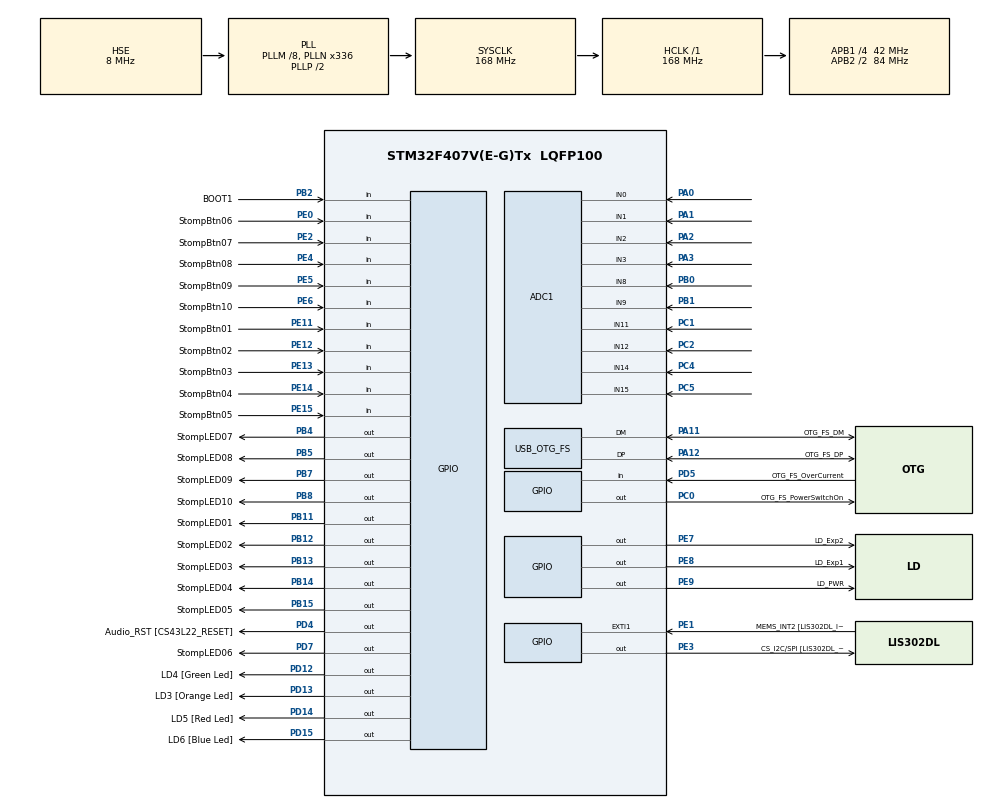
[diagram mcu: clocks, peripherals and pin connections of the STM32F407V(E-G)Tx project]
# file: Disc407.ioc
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PA11.GPIO_Speed=GPIO_SPEED_FREQ_LOW
PE15.GPIO_Mode=GPIO_MODE_INPUT
PD12.GPIO_Label=LD4 [Green Led]
PH0-OSC_IN.Signal=RCC_OSC_IN
PC10.GPIO_PuPd=GPIO_NOPULL
PB10.GPIO_PuPd=GPIO_NOPULL
PA10.GPIO_PuPd=GPIO_NOPULL
ADC1.SamplingTime-6\#ChannelRegularConversion=ADC_SAMPLETIME_28CYCLES
PC12.Signal=I2S3_SD
PB14.GPIO_Label=StompLED04
PA14.GPIO_Label=SWCLK
PA6.GPIO_Label=SPI1_MISO [LIS302DL_SDO]
PB6.GPIO_Label=Audio_SCL [CS43L22_SCL]
PB13.Signal=GPIO_Output
PC15-OSC32_OUT.GPIO_Label=PC15-OSC32_OUT
PE6.GPIO_Label=StompBtn10
ADC1.Channel-8\#ChannelRegularConversion=ADC_CHANNEL_14
PC3.GPIO_Speed=GPIO_SPEED_FREQ_LOW
RCC.SYSCLKSource=RCC_SYSCLKSOURCE_PLLCLK
PA6.GPIO_Mode=GPIO_MODE_AF_PP
PD14.GPIO_Speed=GPIO_SPEED_FREQ_LOW
PE13.GPIO_Mode=GPIO_MODE_INPUT
ADC1.Channel-5\#ChannelRegularConversion=ADC_CHANNEL_3
PD4.Signal=GPIO_Output
RCC.APB2TimFreq_Value=168000000
PB6.Signal=I2C1_SCL
Dma.ADC1.0.Direction=DMA_PERIPH_TO_MEMORY
ADC1.Channel-2\#ChannelRegularConversion=ADC_CHANNEL_0
PC7.Signal=I2S3_MCK
PC3.Signal=I2S2_SD
PE5.Signal=GPIO_Input
PE1.Signal=GPXTI1
Dma.ADC1.0.MemDataAlignment=DMA_MDATAALIGN_HALFWORD
PB2.Signal=GPIO_Input
ADC1.ScanConvMode=ENABLE
SH.ADCx_IN15.0=ADC1_IN15,IN15
PB12.GPIO_Label=StompLED02
PE9.Signal=GPIO_Output
PA5.GPIO_PuPd=GPIO_NOPULL
Dma.ADC1.0.PeriphInc=DMA_PINC_DISABLE
PE4.GPIO_Label=StompBtn08
SH.ADCx_IN8.0=ADC1_IN8,IN8
PD5.GPIO_Mode=GPIO_MODE_INPUT
PE2.Signal=GPIO_Input
PD14.GPIO_PuPd=GPIO_NOPULL
PB2.GPIO_PuPd=GPIO_NOPULL
ADC1.SamplingTime-0\#ChannelRegularConversion=ADC_SAMPLETIME_28CYCLES
Mcu.Package=LQFP100
PB9.Signal=I2C1_SDA
PB1.Signal=ADCx_IN9
SH.ADCx_IN14.0=ADC1_IN14,IN14
PD12.Signal=GPIO_Output
PA10.Signal=USB_OTG_FS_ID
PB9.GPIO_PuPd=GPIO_NOPULL
PE12.GPIO_Label=StompBtn02
SH.ADCx_IN9.0=ADC1_IN9,IN9
RCC.APB2CLKDivider=RCC_HCLK_DIV2
RCC.APB1TimFreq_Value=84000000
Dma.ADC1.0.FIFOMode=DMA_FIFOMODE_DISABLE
PC12.GPIO_PuPd=GPIO_NOPULL
PA6.GPIO_Speed=GPIO_SPEED_FREQ_LOW
PA12.GPIO_PuPd=GPIO_NOPULL
PE6.GPIO_PuPd=GPIO_PULLUP
PA4.GPIO_Label=I2S3_WS [CS43L22_LRCK]
ADC1.EOCSelection=ADC_EOC_SEQ_CONV
PD15.Signal=GPIO_Output
ADC1.Rank-4\#ChannelRegularConversion=5
PE12.GPIO_PuPd=GPIO_PULLUP
Dma.ADC1.0.Instance=DMA2_Stream0
ADC1.Rank-0\#ChannelRegularConversion=1
PA9.GPIO_Label=VBUS_FS
PB6.GPIO_PuPd=GPIO_NOPULL
PC2.Signal=ADCx_IN12
PB11.GPIO_Label=StompLED01
PD7.Signal=GPIO_Output
PA11.GPIO_Label=OTG_FS_DM
PE1.GPIO_PuPd=GPIO_NOPULL
PC0.Signal=GPIO_Output
RCC.APB1CLKDivider=RCC_HCLK_DIV4
PC14-OSC32_IN.Signal=RCC_OSC32_IN
PA0-WKUP.Signal=ADCx_IN0
ADC1.Channel-7\#ChannelRegularConversion=ADC_CHANNEL_12
PC10.GPIO_Mode=GPIO_MODE_AF_PP
PB8.GPIO_Label=StompLED10
PB10.GPIO_Mode=GPIO_MODE_AF_PP
PE8.GPIO_Label=LD_Exp1
Dma.ADC1.0.Priority=DMA_PRIORITY_LOW
PA9.Signal=USB_OTG_FS_VBUS
PC7.GPIO_PuPd=GPIO_NOPULL
PE9.GPIO_Label=LD_PWR
PB10.Signal=I2S2_CK
PB14.Signal=GPIO_Output
PE2.GPIO_PuPd=GPIO_PULLUP
PA5.Signal=SPI1_SCK
PE1.GPIO_Label=MEMS_INT2 [LIS302DL_INT2]
PA7.GPIO_Speed=GPIO_SPEED_FREQ_LOW
PB2.GPIO_Mode=GPIO_MODE_INPUT
PE14.Signal=GPIO_Input
PE15.Signal=GPIO_Input
PB4.GPIO_Label=StompLED07
PB15.GPIO_Label=StompLED05
PE8.Signal=GPIO_Output
PD4.GPIO_Speed=GPIO_SPEED_FREQ_LOW
PE3.GPIO_PuPd=GPIO_NOPULL
PH1-OSC_OUT.GPIO_Label=PH1-OSC_OUT
ADC1.DMAContinuousRequests=ENABLE
ADC1.Rank-9\#ChannelRegularConversion=10
PA13.Mode=Serial_Wire
PE4.GPIO_PuPd=GPIO_PULLUP
PC7.GPIO_Label=I2S3_MCK [CS43L22_MCLK]
PA4.Signal=I2S3_WS
ADC1.SamplingTime-1\#ChannelRegularConversion=ADC_SAMPLETIME_28CYCLES
PC12.GPIO_Mode=GPIO_MODE_AF_PP
PB5.Signal=GPIO_Output
ADC1.master=1
PE13.GPIO_Label=StompBtn03
PA5.GPIO_Label=SPI1_SCK [LIS302DL_SCL/SPC]
PE3.GPIO_Speed=GPIO_SPEED_FREQ_LOW
PE5.GPIO_Label=StompBtn09
PC12.GPIO_Label=I2S3_SD [CS43L22_SDIN]
ADC1.Rank-1\#ChannelRegularConversion=2
PA11.Signal=USB_OTG_FS_DM
ProjectManager.HeapSize=0x200
ADC1.SamplingTime-5\#ChannelRegularConversion=ADC_SAMPLETIME_28CYCLES
NVIC.PriorityGroup=NVIC_PRIORITYGROUP_0
PE3.Signal=GPIO_Output
PC3.GPIO_Label=PDM_OUT [MP45DT02_DOUT]
ADC1.SamplingTime-9\#ChannelRegularConversion=ADC_SAMPLETIME_28CYCLES
PB6.GPIO_Speed=GPIO_SPEED_FREQ_LOW
PB0.Signal=ADCx_IN8
ADC1.Rank-5\#ChannelRegularConversion=6
PC1.Signal=ADCx_IN11
USB_DEVICE.VirtualMode-HID_FS=Hid
Mcu.Family=STM32F4
PC3.GPIO_Mode=GPIO_MODE_AF_PP
USB_DEVICE.CLASS_NAME_FS=HID
RCC.CortexFreq_Value=168000000
PB10.GPIO_Speed=GPIO_SPEED_FREQ_LOW
PB6.GPIO_Mode=GPIO_MODE_AF_OD
ADC1.ContinuousConvMode=ENABLE
PE11.GPIO_Label=StompBtn01
SH.ADCx_IN2.0=ADC1_IN2,IN2
PD15.GPIO_Speed=GPIO_SPEED_FREQ_LOW
PC10.Signal=I2S3_CK
PA7.GPIO_Mode=GPIO_MODE_AF_PP
PC0.GPIO_Label=OTG_FS_PowerSwitchOn
PA11.Mode=Device_Only
PC10.GPIO_Speed=GPIO_SPEED_FREQ_LOW
PA11.GPIO_PuPd=GPIO_NOPULL
PB13.GPIO_Label=StompLED03
PB11.Signal=GPIO_Output
PB15.Signal=GPIO_Output
ProjectManager.StackSize=0x400
VP_TIM7_VS_ClockSourceINT.Mode=Enable_Timer
PD13.Signal=GPIO_Output
PA12.Signal=USB_OTG_FS_DP
PE5.GPIO_PuPd=GPIO_PULLUP
PE11.GPIO_PuPd=GPIO_PULLUP
ADC1.Channel-3\#ChannelRegularConversion=ADC_CHANNEL_1
RCC.HCLKFreq_Value=168000000
SH.ADCx_IN3.0=ADC1_IN3,IN3
TIM7.Period=83
NVIC.DMA2_Stream0_IRQn=true\:0\:0\:false\:false\:true\:false\:true
RCC.AHBFreq_Value=168000000
PH0-OSC_IN.Mode=HSE-External-Oscillator
PH0-OSC_IN.GPIO_Label=PH0-OSC_IN
PA9.GPIO_Mode=GPIO_MODE_INPUT
ADC1.Channel-0\#ChannelRegularConversion=ADC_CHANNEL_8
RCC.HSE_VALUE=8000000
PA4.GPIO_PuPd=GPIO_NOPULL
PE13.GPIO_PuPd=GPIO_PULLUP
PA4.GPIO_Speed=GPIO_SPEED_FREQ_LOW
ADC1.SamplingTime-4\#ChannelRegularConversion=ADC_SAMPLETIME_28CYCLES
ADC1.Channel-6\#ChannelRegularConversion=ADC_CHANNEL_11
PA6.GPIO_PuPd=GPIO_NOPULL
ADC1.Rank-2\#ChannelRegularConversion=3
PE13.Signal=GPIO_Input
PC14-OSC32_IN.Mode=LSE-External-Oscillator
PA14.Mode=Serial_Wire
PA10.GPIO_Label=OTG_FS_ID
PC7.GPIO_Mode=GPIO_MODE_AF_PP
PB7.Signal=GPIO_Output
SH.ADCx_IN0.0=ADC1_IN0,IN0
PE4.Signal=GPIO_Input
PD7.GPIO_Label=StompLED06
PH1-OSC_OUT.Mode=HSE-External-Oscillator
PB7.GPIO_Label=StompLED09
PD13.GPIO_Label=LD3 [Orange Led]
PA6.Signal=SPI1_MISO
PD5.GPIO_Label=OTG_FS_OverCurrent
NVIC.OTG_FS_IRQn=true\:0\:0\:false\:false\:true\:true\:true
PD15.GPIO_PuPd=GPIO_NOPULL
USB_OTG_FS.VirtualMode=Device_Only
PE0.GPIO_Label=StompBtn06
PA10.GPIO_Speed=GPIO_SPEED_FREQ_LOW
SH.ADCx_IN1.0=ADC1_IN1,IN1
PB9.GPIO_Speed=GPIO_SPEED_FREQ_LOW
PB5.GPIO_Label=StompLED08
PC14-OSC32_IN.GPIO_Label=PC14-OSC32_IN
PC5.Signal=ADCx_IN15
PE14.GPIO_Mode=GPIO_MODE_INPUT
PE7.Signal=GPIO_Output
ADC1.Rank-6\#ChannelRegularConversion=7
Dma.Request0=ADC1
ADC1.SamplingTime-8\#ChannelRegularConversion=ADC_SAMPLETIME_28CYCLES
PE2.GPIO_Label=StompBtn07
NVIC.TIM7_IRQn=true\:0\:0\:false\:false\:true\:true\:true
PA12.GPIO_Speed=GPIO_SPEED_FREQ_LOW
PB4.Signal=GPIO_Output
PA3.Signal=ADCx_IN3
PB3.GPIO_Label=SWO
PE0.GPIO_PuPd=GPIO_PULLUP
PC15-OSC32_OUT.Mode=LSE-External-Oscillator
PD12.GPIO_Speed=GPIO_SPEED_FREQ_LOW
PD15.GPIO_Label=LD6 [Blue Led]
PB9.GPIO_Label=Audio_SDA [CS43L22_SDA]
ADC1.Channel-4\#ChannelRegularConversion=ADC_CHANNEL_2
PC10.GPIO_Label=I2S3_SCK [CS43L22_SCLK]
USB_DEVICE.VirtualModeFS=Hid_FS
ADC1.Rank-8\#ChannelRegularConversion=9
PC4.Signal=ADCx_IN14
PE14.GPIO_Label=StompBtn04
PD5.Signal=GPIO_Input
PE1.GPIO_ModeDefaultEXTI=GPIO_MODE_EVT_RISING
PA9.GPIO_PuPd=GPIO_NOPULL
PA12.GPIO_Label=OTG_FS_DP
ADC1.SamplingTime-2\#ChannelRegularConversion=ADC_SAMPLETIME_28CYCLES
PA10.GPIO_Mode=GPIO_MODE_AF_PP
PA13.Signal=SYS_JTMS-SWDIO
PD4.GPIO_PuPd=GPIO_NOPULL
Dma.ADC1.0.PeriphDataAlignment=DMA_PDATAALIGN_HALFWORD
SH.ADCx_IN12.0=ADC1_IN12,IN12
PE15.GPIO_Label=StompBtn05
ProjectManager.TargetToolchain=STM32CubeIDE
PB10.GPIO_Label=CLK_IN [MP45DT02_CLK]
Dma.ADC1.0.Mode=DMA_CIRCULAR
ADC1.Channel-1\#ChannelRegularConversion=ADC_CHANNEL_9
PE11.Signal=GPIO_Input
PC15-OSC32_OUT.Signal=RCC_OSC32_OUT
PA7.GPIO_PuPd=GPIO_NOPULL
PA1.Signal=ADCx_IN1
TIM7.Prescaler=999
board=STM32F407G-DISC1
PD13.GPIO_Speed=GPIO_SPEED_FREQ_LOW
PC7.GPIO_Speed=GPIO_SPEED_FREQ_LOW
RCC.VCOOutputFreq_Value=336000000
PB9.GPIO_Mode=GPIO_MODE_AF_OD
PA12.GPIO_Mode=GPIO_MODE_AF_PP
PA4.GPIO_Mode=GPIO_MODE_AF_PP
VP_USB_DEVICE_VS_USB_DEVICE_HID_FS.Mode=HID_FS
RCC.APB2Freq_Value=84000000
SH.ADCx_IN11.0=ADC1_IN11,IN11
PD4.GPIO_Label=Audio_RST [CS43L22_RESET]
PE11.GPIO_Mode=GPIO_MODE_INPUT
PH1-OSC_OUT.Signal=RCC_OSC_OUT
PD13.GPIO_PuPd=GPIO_NOPULL
PD5.GPIO_PuPd=GPIO_NOPULL
PD14.GPIO_Label=LD5 [Red Led]
PE14.GPIO_PuPd=GPIO_PULLUP
PE6.Signal=GPIO_Input
ADC1.NbrOfConversion=10
Mcu.Name=STM32F407V(E-G)Tx
PE0.Signal=GPIO_Input
PE7.GPIO_Label=LD_Exp2
PE12.Signal=GPIO_Input
PE12.GPIO_Mode=GPIO_MODE_INPUT
PA2.Signal=ADCx_IN2
PA13.GPIO_Label=SWDIO
ADC1.Channel-9\#ChannelRegularConversion=ADC_CHANNEL_15
PD14.Signal=GPIO_Output
RCC.48MHZClocksFreq_Value=48000000
PB3.Signal=SYS_JTDO-SWO
RCC.SYSCLKFreq_VALUE=168000000
PA7.GPIO_Label=SPI1_MOSI [LIS302DL_SDA/SDI/SDO]
PA12.Mode=Device_Only
ADC1.Rank-3\#ChannelRegularConversion=4
ADC1.SamplingTime-3\#ChannelRegularConversion=ADC_SAMPLETIME_28CYCLES
PA14.Signal=SYS_JTCK-SWCLK
Dma.ADC1.0.MemInc=DMA_MINC_ENABLE
PB2.GPIO_Label=BOOT1
PE15.GPIO_PuPd=GPIO_PULLUP
RCC.HSI_VALUE=16000000
ADC1.Rank-7\#ChannelRegularConversion=8
PA5.GPIO_Speed=GPIO_SPEED_FREQ_LOW
RCC.PLLQ=7
ADC1.NbrOfConversionFlag=1
RCC.PLLM=8
RCC.PLLN=336
PB8.Signal=GPIO_Output
PE3.GPIO_Label=CS_I2C/SPI [LIS302DL_CS_I2C/SPI]
ADC1.SamplingTime-7\#ChannelRegularConversion=ADC_SAMPLETIME_28CYCLES
PA11.GPIO_Mode=GPIO_MODE_AF_PP
RCC.APB1Freq_Value=42000000
PA5.GPIO_Mode=GPIO_MODE_AF_PP
PC12.GPIO_Speed=GPIO_SPEED_FREQ_LOW
PB12.Signal=GPIO_Output
PC3.GPIO_PuPd=GPIO_NOPULL
PD12.GPIO_PuPd=GPIO_NOPULL
PA7.Signal=SPI1_MOSI

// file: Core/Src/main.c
/* USER CODE BEGIN Header */
/**
  ******************************************************************************
  * @file           : main.c
  * @brief          : Main program body
  ******************************************************************************
  * @attention
  *
  * <h2><center>&copy; Copyright (c) 2021 STMicroelectronics.
  * All rights reserved.</center></h2>
  *
  * This software component is licensed by ST under Ultimate Liberty license
  * SLA0044, the "License"; You may not use this file except in compliance with
  * the License. You may obtain a copy of the License at:
  *                             www.st.com/SLA0044
  *
  ******************************************************************************
  */
/* USER CODE END Header */
#include "main.h"
#include "usb_device.h"

/* USER CODE BEGIN Includes */
#include "usbd_midi_if.h"
#include "Process.h"
/* USER CODE END Includes */

ADC_HandleTypeDef hadc1;
DMA_HandleTypeDef hdma_adc1;

TIM_HandleTypeDef htim7;

/* USER CODE BEGIN PV */
uint8_t uart_rx_dat[MIDI_IN_JACK_NUM];
uint16_t AD_RES[10];

/* USER CODE END PV */

void SystemClock_Config(void);
static void MX_GPIO_Init(void);
static void MX_DMA_Init(void);
static void MX_TIM7_Init(void);
static void MX_ADC1_Init(void);

/* USER CODE BEGIN 0 */
uint16_t *getADCbuffer(void)
{
  return AD_RES;
}
/* USER CODE END 0 */

int main(void)
{

  /* MCU Configuration--------------------------------------------------------*/

  /* Reset of all peripherals, Initializes the Flash interface and the Systick. */
  HAL_Init();

  /* USER CODE BEGIN Init */
  ProcessInit();

  /* USER CODE END Init */

  /* Configure the system clock */
  SystemClock_Config();

  /* Initialize all configured peripherals */
  MX_GPIO_Init();
  MX_DMA_Init();
  MX_USB_DEVICE_Init();
  MX_TIM7_Init();
  MX_ADC1_Init();
  /* USER CODE BEGIN 2 */

  HAL_TIM_Base_Start_IT(&htim7);

	//USB-MIDI Driver Init
  MX_USB_MIDI_INIT();

  // Calibrate The ADC On Power-Up For Better Accuracy
  //HAL_ADCEx_Calibration_Start(&hadc1);
  // Start ADC Conversion
  HAL_ADC_Start_DMA(&hadc1, (uint32_t*) AD_RES, 10);

  if(FUNC_ERROR == midiInit() ){
	  while(1){
		  HAL_GPIO_WritePin(LD_PWR_GPIO_Port, LD_PWR_Pin, (GPIO_PinState)SET);
		  HAL_Delay(500);
		  HAL_GPIO_WritePin(LD_PWR_GPIO_Port, LD_PWR_Pin, (GPIO_PinState)RESET);
		  HAL_Delay(500);
	  }
  }

  /* USER CODE END 2 */

  /* Infinite loop */
  while (1)
  {

    /* USER CODE BEGIN 3 */
    HAL_Delay(1);
    ProcessExecute();
  }
  /* USER CODE END 3 */
}

void SystemClock_Config(void)
{
  RCC_OscInitTypeDef RCC_OscInitStruct = {0};
  RCC_ClkInitTypeDef RCC_ClkInitStruct = {0};

  /** Configure the main internal regulator output voltage
  */
  __HAL_RCC_PWR_CLK_ENABLE();
  __HAL_PWR_VOLTAGESCALING_CONFIG(PWR_REGULATOR_VOLTAGE_SCALE1);
  /** Initializes the RCC Oscillators according to the specified parameters
  * in the RCC_OscInitTypeDef structure.
  */
  RCC_OscInitStruct.OscillatorType = RCC_OSCILLATORTYPE_HSE;
  RCC_OscInitStruct.HSEState = RCC_HSE_ON;
  RCC_OscInitStruct.PLL.PLLState = RCC_PLL_ON;
  RCC_OscInitStruct.PLL.PLLSource = RCC_PLLSOURCE_HSE;
  RCC_OscInitStruct.PLL.PLLM = 8;
  RCC_OscInitStruct.PLL.PLLN = 336;
  RCC_OscInitStruct.PLL.PLLP = RCC_PLLP_DIV2;
  RCC_OscInitStruct.PLL.PLLQ = 7;
  if (HAL_RCC_OscConfig(&RCC_OscInitStruct) != HAL_OK)
  {
    Error_Handler();
  }
  /** Initializes the CPU, AHB and APB buses clocks
  */
  RCC_ClkInitStruct.ClockType = RCC_CLOCKTYPE_HCLK|RCC_CLOCKTYPE_SYSCLK
                              |RCC_CLOCKTYPE_PCLK1|RCC_CLOCKTYPE_PCLK2;
  RCC_ClkInitStruct.SYSCLKSource = RCC_SYSCLKSOURCE_PLLCLK;
  RCC_ClkInitStruct.AHBCLKDivider = RCC_SYSCLK_DIV1;
  RCC_ClkInitStruct.APB1CLKDivider = RCC_HCLK_DIV4;
  RCC_ClkInitStruct.APB2CLKDivider = RCC_HCLK_DIV2;

  if (HAL_RCC_ClockConfig(&RCC_ClkInitStruct, FLASH_LATENCY_5) != HAL_OK)
  {
    Error_Handler();
  }
}

static void MX_ADC1_Init(void)
{

  ADC_ChannelConfTypeDef sConfig = {0};

  /** Configure the global features of the ADC (Clock, Resolution, Data Alignment and number of conversion)
  */
  hadc1.Instance = ADC1;
  hadc1.Init.ClockPrescaler = ADC_CLOCK_SYNC_PCLK_DIV4;
  hadc1.Init.Resolution = ADC_RESOLUTION_12B;
  hadc1.Init.ScanConvMode = ENABLE;
  hadc1.Init.ContinuousConvMode = ENABLE;
  hadc1.Init.DiscontinuousConvMode = DISABLE;
  hadc1.Init.ExternalTrigConvEdge = ADC_EXTERNALTRIGCONVEDGE_NONE;
  hadc1.Init.ExternalTrigConv = ADC_SOFTWARE_START;
  hadc1.Init.DataAlign = ADC_DATAALIGN_RIGHT;
  hadc1.Init.NbrOfConversion = 10;
  hadc1.Init.DMAContinuousRequests = ENABLE;
  hadc1.Init.EOCSelection = ADC_EOC_SEQ_CONV;
  if (HAL_ADC_Init(&hadc1) != HAL_OK)
  {
    Error_Handler();
  }
  /** Configure for the selected ADC regular channel its corresponding rank in the sequencer and its sample time.
  */
  sConfig.Channel = ADC_CHANNEL_8;
  sConfig.Rank = 1;
  sConfig.SamplingTime = ADC_SAMPLETIME_28CYCLES;
  if (HAL_ADC_ConfigChannel(&hadc1, &sConfig) != HAL_OK)
  {
    Error_Handler();
  }
  /** Configure for the selected ADC regular channel its corresponding rank in the sequencer and its sample time.
  */
  sConfig.Channel = ADC_CHANNEL_9;
  sConfig.Rank = 2;
  if (HAL_ADC_ConfigChannel(&hadc1, &sConfig) != HAL_OK)
  {
    Error_Handler();
  }
  /** Configure for the selected ADC regular channel its corresponding rank in the sequencer and its sample time.
  */
  sConfig.Channel = ADC_CHANNEL_0;
  sConfig.Rank = 3;
  if (HAL_ADC_ConfigChannel(&hadc1, &sConfig) != HAL_OK)
  {
    Error_Handler();
  }
  /** Configure for the selected ADC regular channel its corresponding rank in the sequencer and its sample time.
  */
  sConfig.Channel = ADC_CHANNEL_1;
  sConfig.Rank = 4;
  if (HAL_ADC_ConfigChannel(&hadc1, &sConfig) != HAL_OK)
  {
    Error_Handler();
  }
  /** Configure for the selected ADC regular channel its corresponding rank in the sequencer and its sample time.
  */
  sConfig.Channel = ADC_CHANNEL_2;
  sConfig.Rank = 5;
  if (HAL_ADC_ConfigChannel(&hadc1, &sConfig) != HAL_OK)
  {
    Error_Handler();
  }
  /** Configure for the selected ADC regular channel its corresponding rank in the sequencer and its sample time.
  */
  sConfig.Channel = ADC_CHANNEL_3;
  sConfig.Rank = 6;
  if (HAL_ADC_ConfigChannel(&hadc1, &sConfig) != HAL_OK)
  {
    Error_Handler();
  }
  /** Configure for the selected ADC regular channel its corresponding rank in the sequencer and its sample time.
  */
  sConfig.Channel = ADC_CHANNEL_11;
  sConfig.Rank = 7;
  if (HAL_ADC_ConfigChannel(&hadc1, &sConfig) != HAL_OK)
  {
    Error_Handler();
  }
  /** Configure for the selected ADC regular channel its corresponding rank in the sequencer and its sample time.
  */
  sConfig.Channel = ADC_CHANNEL_12;
  sConfig.Rank = 8;
  if (HAL_ADC_ConfigChannel(&hadc1, &sConfig) != HAL_OK)
  {
    Error_Handler();
  }
  /** Configure for the selected ADC regular channel its corresponding rank in the sequencer and its sample time.
  */
  sConfig.Channel = ADC_CHANNEL_14;
  sConfig.Rank = 9;
  if (HAL_ADC_ConfigChannel(&hadc1, &sConfig) != HAL_OK)
  {
    Error_Handler();
  }
  /** Configure for the selected ADC regular channel its corresponding rank in the sequencer and its sample time.
  */
  sConfig.Channel = ADC_CHANNEL_15;
  sConfig.Rank = 10;
  if (HAL_ADC_ConfigChannel(&hadc1, &sConfig) != HAL_OK)
  {
    Error_Handler();
  }

}

static void MX_TIM7_Init(void)
{

  TIM_MasterConfigTypeDef sMasterConfig = {0};

  htim7.Instance = TIM7;
  htim7.Init.Prescaler = 999;
  htim7.Init.CounterMode = TIM_COUNTERMODE_UP;
  htim7.Init.Period = 83;
  htim7.Init.AutoReloadPreload = TIM_AUTORELOAD_PRELOAD_DISABLE;
  if (HAL_TIM_Base_Init(&htim7) != HAL_OK)
  {
    Error_Handler();
  }
  sMasterConfig.MasterOutputTrigger = TIM_TRGO_RESET;
  sMasterConfig.MasterSlaveMode = TIM_MASTERSLAVEMODE_DISABLE;
  if (HAL_TIMEx_MasterConfigSynchronization(&htim7, &sMasterConfig) != HAL_OK)
  {
    Error_Handler();
  }

}

static void MX_DMA_Init(void)
{

  /* DMA controller clock enable */
  __HAL_RCC_DMA2_CLK_ENABLE();

  /* DMA interrupt init */
  /* DMA2_Stream0_IRQn interrupt configuration */
  HAL_NVIC_SetPriority(DMA2_Stream0_IRQn, 0, 0);
  HAL_NVIC_EnableIRQ(DMA2_Stream0_IRQn);

}

static void MX_GPIO_Init(void)
{
  GPIO_InitTypeDef GPIO_InitStruct = {0};

  /* GPIO Ports Clock Enable */
  __HAL_RCC_GPIOE_CLK_ENABLE();
  __HAL_RCC_GPIOC_CLK_ENABLE();
  __HAL_RCC_GPIOH_CLK_ENABLE();
  __HAL_RCC_GPIOA_CLK_ENABLE();
  __HAL_RCC_GPIOB_CLK_ENABLE();
  __HAL_RCC_GPIOD_CLK_ENABLE();

  /*Configure GPIO pin Output Level */
  HAL_GPIO_WritePin(GPIOE, CS_I2C_SPI_Pin|LD_Exp2_Pin|LD_Exp1_Pin|LD_PWR_Pin, GPIO_PIN_RESET);

  /*Configure GPIO pin Output Level */
  HAL_GPIO_WritePin(OTG_FS_PowerSwitchOn_GPIO_Port, OTG_FS_PowerSwitchOn_Pin, GPIO_PIN_RESET);

  /*Configure GPIO pin Output Level */
  HAL_GPIO_WritePin(GPIOB, StompLED01_Pin|StompLED02_Pin|StompLED03_Pin|StompLED04_Pin
                          |StompLED05_Pin|StompLED07_Pin|StompLED08_Pin|StompLED09_Pin
                          |StompLED10_Pin, GPIO_PIN_RESET);

  /*Configure GPIO pin Output Level */
  HAL_GPIO_WritePin(GPIOD, LD4_Pin|LD3_Pin|LD5_Pin|LD6_Pin
                          |Audio_RST_Pin|StompLED06_Pin, GPIO_PIN_RESET);

  /*Configure GPIO pins : StompBtn07_Pin StompBtn08_Pin StompBtn09_Pin StompBtn10_Pin
                           StompBtn01_Pin StompBtn02_Pin StompBtn03_Pin StompBtn04_Pin
                           StompBtn05_Pin StompBtn06_Pin */
  GPIO_InitStruct.Pin = StompBtn07_Pin|StompBtn08_Pin|StompBtn09_Pin|StompBtn10_Pin
                          |StompBtn01_Pin|StompBtn02_Pin|StompBtn03_Pin|StompBtn04_Pin
                          |StompBtn05_Pin|StompBtn06_Pin;
  GPIO_InitStruct.Mode = GPIO_MODE_INPUT;
  GPIO_InitStruct.Pull = GPIO_PULLUP;
  HAL_GPIO_Init(GPIOE, &GPIO_InitStruct);

  /*Configure GPIO pins : CS_I2C_SPI_Pin LD_Exp2_Pin LD_Exp1_Pin LD_PWR_Pin */
  GPIO_InitStruct.Pin = CS_I2C_SPI_Pin|LD_Exp2_Pin|LD_Exp1_Pin|LD_PWR_Pin;
  GPIO_InitStruct.Mode = GPIO_MODE_OUTPUT_PP;
  GPIO_InitStruct.Pull = GPIO_NOPULL;
  GPIO_InitStruct.Speed = GPIO_SPEED_FREQ_LOW;
  HAL_GPIO_Init(GPIOE, &GPIO_InitStruct);

  /*Configure GPIO pin : OTG_FS_PowerSwitchOn_Pin */
  GPIO_InitStruct.Pin = OTG_FS_PowerSwitchOn_Pin;
  GPIO_InitStruct.Mode = GPIO_MODE_OUTPUT_PP;
  GPIO_InitStruct.Pull = GPIO_NOPULL;
  GPIO_InitStruct.Speed = GPIO_SPEED_FREQ_LOW;
  HAL_GPIO_Init(OTG_FS_PowerSwitchOn_GPIO_Port, &GPIO_InitStruct);

  /*Configure GPIO pin : PDM_OUT_Pin */
  GPIO_InitStruct.Pin = PDM_OUT_Pin;
  GPIO_InitStruct.Mode = GPIO_MODE_AF_PP;
  GPIO_InitStruct.Pull = GPIO_NOPULL;
  GPIO_InitStruct.Speed = GPIO_SPEED_FREQ_LOW;
  GPIO_InitStruct.Alternate = GPIO_AF5_SPI2;
  HAL_GPIO_Init(PDM_OUT_GPIO_Port, &GPIO_InitStruct);

  /*Configure GPIO pin : I2S3_WS_Pin */
  GPIO_InitStruct.Pin = I2S3_WS_Pin;
  GPIO_InitStruct.Mode = GPIO_MODE_AF_PP;
  GPIO_InitStruct.Pull = GPIO_NOPULL;
  GPIO_InitStruct.Speed = GPIO_SPEED_FREQ_LOW;
  GPIO_InitStruct.Alternate = GPIO_AF6_SPI3;
  HAL_GPIO_Init(I2S3_WS_GPIO_Port, &GPIO_InitStruct);

  /*Configure GPIO pins : SPI1_SCK_Pin SPI1_MISO_Pin SPI1_MOSI_Pin */
  GPIO_InitStruct.Pin = SPI1_SCK_Pin|SPI1_MISO_Pin|SPI1_MOSI_Pin;
  GPIO_InitStruct.Mode = GPIO_MODE_AF_PP;
  GPIO_InitStruct.Pull = GPIO_NOPULL;
  GPIO_InitStruct.Speed = GPIO_SPEED_FREQ_LOW;
  GPIO_InitStruct.Alternate = GPIO_AF5_SPI1;
  HAL_GPIO_Init(GPIOA, &GPIO_InitStruct);

  /*Configure GPIO pin : BOOT1_Pin */
  GPIO_InitStruct.Pin = BOOT1_Pin;
  GPIO_InitStruct.Mode = GPIO_MODE_INPUT;
  GPIO_InitStruct.Pull = GPIO_NOPULL;
  HAL_GPIO_Init(BOOT1_GPIO_Port, &GPIO_InitStruct);

  /*Configure GPIO pin : CLK_IN_Pin */
  GPIO_InitStruct.Pin = CLK_IN_Pin;
  GPIO_InitStruct.Mode = GPIO_MODE_AF_PP;
  GPIO_InitStruct.Pull = GPIO_NOPULL;
  GPIO_InitStruct.Speed = GPIO_SPEED_FREQ_LOW;
  GPIO_InitStruct.Alternate = GPIO_AF5_SPI2;
  HAL_GPIO_Init(CLK_IN_GPIO_Port, &GPIO_InitStruct);

  /*Configure GPIO pins : StompLED01_Pin StompLED02_Pin StompLED03_Pin StompLED04_Pin
                           StompLED05_Pin StompLED07_Pin StompLED08_Pin StompLED09_Pin
                           StompLED10_Pin */
  GPIO_InitStruct.Pin = StompLED01_Pin|StompLED02_Pin|StompLED03_Pin|StompLED04_Pin
                          |StompLED05_Pin|StompLED07_Pin|StompLED08_Pin|StompLED09_Pin
                          |StompLED10_Pin;
  GPIO_InitStruct.Mode = GPIO_MODE_OUTPUT_PP;
  GPIO_InitStruct.Pull = GPIO_NOPULL;
  GPIO_InitStruct.Speed = GPIO_SPEED_FREQ_LOW;
  HAL_GPIO_Init(GPIOB, &GPIO_InitStruct);

  /*Configure GPIO pins : LD4_Pin LD3_Pin LD5_Pin LD6_Pin
                           Audio_RST_Pin StompLED06_Pin */
  GPIO_InitStruct.Pin = LD4_Pin|LD3_Pin|LD5_Pin|LD6_Pin
                          |Audio_RST_Pin|StompLED06_Pin;
  GPIO_InitStruct.Mode = GPIO_MODE_OUTPUT_PP;
  GPIO_InitStruct.Pull = GPIO_NOPULL;
  GPIO_InitStruct.Speed = GPIO_SPEED_FREQ_LOW;
  HAL_GPIO_Init(GPIOD, &GPIO_InitStruct);

  /*Configure GPIO pins : I2S3_MCK_Pin I2S3_SCK_Pin I2S3_SD_Pin */
  GPIO_InitStruct.Pin = I2S3_MCK_Pin|I2S3_SCK_Pin|I2S3_SD_Pin;
  GPIO_InitStruct.Mode = GPIO_MODE_AF_PP;
  GPIO_InitStruct.Pull = GPIO_NOPULL;
  GPIO_InitStruct.Speed = GPIO_SPEED_FREQ_LOW;
  GPIO_InitStruct.Alternate = GPIO_AF6_SPI3;
  HAL_GPIO_Init(GPIOC, &GPIO_InitStruct);

  /*Configure GPIO pin : OTG_FS_OverCurrent_Pin */
  GPIO_InitStruct.Pin = OTG_FS_OverCurrent_Pin;
  GPIO_InitStruct.Mode = GPIO_MODE_INPUT;
  GPIO_InitStruct.Pull = GPIO_NOPULL;
  HAL_GPIO_Init(OTG_FS_OverCurrent_GPIO_Port, &GPIO_InitStruct);

  /*Configure GPIO pins : Audio_SCL_Pin Audio_SDA_Pin */
  GPIO_InitStruct.Pin = Audio_SCL_Pin|Audio_SDA_Pin;
  GPIO_InitStruct.Mode = GPIO_MODE_AF_OD;
  GPIO_InitStruct.Pull = GPIO_PULLUP;
  GPIO_InitStruct.Speed = GPIO_SPEED_FREQ_LOW;
  GPIO_InitStruct.Alternate = GPIO_AF4_I2C1;
  HAL_GPIO_Init(GPIOB, &GPIO_InitStruct);

  /*Configure GPIO pin : MEMS_INT2_Pin */
  GPIO_InitStruct.Pin = MEMS_INT2_Pin;
  GPIO_InitStruct.Mode = GPIO_MODE_EVT_RISING;
  GPIO_InitStruct.Pull = GPIO_NOPULL;
  HAL_GPIO_Init(MEMS_INT2_GPIO_Port, &GPIO_InitStruct);

}

void Error_Handler(void)
{
  __disable_irq();
  while (1)
  {
  }
}

/************************ (C) COPYRIGHT STMicroelectronics *****END OF FILE****/
